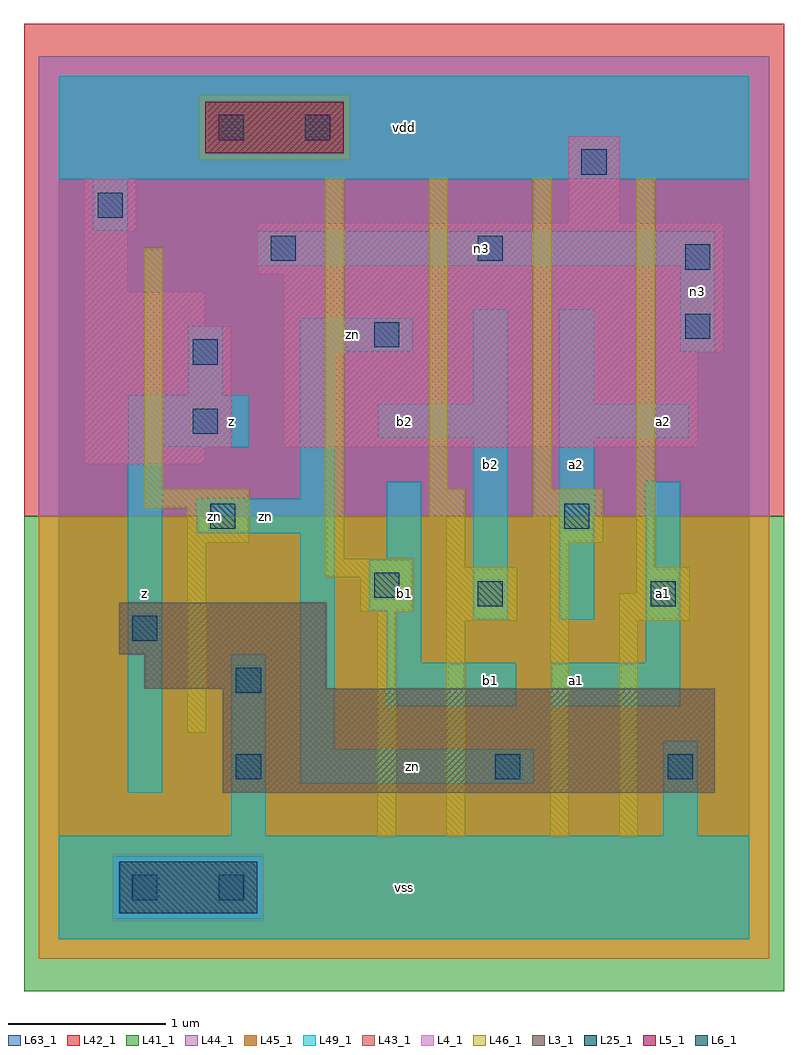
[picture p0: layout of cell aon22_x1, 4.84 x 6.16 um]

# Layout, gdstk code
import gdstk
lib = gdstk.Library(unit=1e-6, precision=1e-09)
def R(c, l, rs):  # rectangles x0, y0, x1, y1
    for r in rs: c.add(gdstk.rectangle(r[:2], r[2:], *l))
L3_1 = (3, 1)
L4_1 = (4, 1)
L5_1 = (5, 1)
L6_1 = (6, 1)
L25_1 = (25, 1)
L41_1 = (41, 1)
L42_1 = (42, 1)
L43_1 = (43, 1)
L44_1 = (44, 1)
L45_1 = (45, 1)
L46_1 = (46, 1)
L49_1 = (49, 1)
L63_1 = (63, 1)

aon22_x1 = lib.new_cell('aon22_x1')
R(aon22_x1, L3_1, [(1.045,0.935,4.18,1.595), (0.55,1.595,1.705,1.815), (0.385,1.815,1.705,2.145)])
R(aon22_x1, L4_1, [(0.165,3.025,0.935,3.135), (0.165,3.135,1.1,3.905), (1.43,3.135,4.07,3.74), (1.43,3.74,4.235,4.235), (0.165,3.905,0.935,4.125), (0.165,4.125,0.44,4.51), (1.265,4.235,4.235,4.565), (0.165,4.51,0.495,4.84), (3.245,4.565,3.575,5.115)])
R(aon22_x1, L5_1, [(0.935,5.005,1.815,5.335)])
R(aon22_x1, L6_1, [(0.385,0.165,1.265,0.495)])
R(aon22_x1, L25_1, [(0.47,0.25,0.63,0.41), (1.02,0.25,1.18,0.41), (1.13,1.02,1.29,1.18), (2.78,1.02,2.94,1.18), (3.88,1.02,4.04,1.18), (1.13,1.57,1.29,1.73), (0.47,1.9,0.63,2.06), (2.67,2.12,2.83,2.28), (3.77,2.12,3.93,2.28), (2.01,2.175,2.17,2.335), (0.965,2.615,1.125,2.775), (3.22,2.615,3.38,2.775), (0.855,3.22,1.015,3.38), (0.855,3.66,1.015,3.82), (2.01,3.77,2.17,3.93), (3.99,3.825,4.15,3.985), (3.99,4.265,4.15,4.425), (1.35,4.32,1.51,4.48), (2.67,4.32,2.83,4.48), (0.25,4.595,0.41,4.755), (3.33,4.87,3.49,5.03), (1.02,5.09,1.18,5.25), (1.57,5.09,1.73,5.25)])
R(aon22_x1, L41_1, [(-0.22,-0.33,4.62,2.695)])
R(aon22_x1, L42_1, [(-0.22,2.695,4.62,5.83)])
R(aon22_x1, L43_1, [(0.385,0.165,1.265,0.495), (1.045,0.935,4.18,1.595), (0.55,1.595,1.705,1.815), (0.385,1.815,1.705,2.145), (0.165,3.025,0.935,3.135), (0.165,3.135,1.1,3.905), (1.43,3.135,4.07,3.74), (1.43,3.74,4.235,4.235), (0.165,3.905,0.935,4.125), (0.165,4.125,0.44,4.51), (1.265,4.235,4.235,4.565), (0.165,4.51,0.495,4.84), (3.245,4.565,3.575,5.115), (0.935,5.005,1.815,5.335)])
R(aon22_x1, L44_1, [(0.345,0.125,1.305,0.535), (-0.125,2.695,4.525,4.965), (-0.125,4.965,0.895,5.375), (1.855,4.965,4.525,5.375), (-0.125,5.375,4.525,5.625)])
R(aon22_x1, L45_1, [(-0.125,-0.125,4.525,0.125), (-0.125,0.125,0.345,0.535), (1.305,0.125,4.525,0.535), (-0.125,0.535,4.525,2.695), (0.895,4.965,1.855,5.375)])
R(aon22_x1, L46_1, [(2.03,0.655,2.15,2.085), (2.47,0.655,2.59,2.03), (3.13,0.655,3.25,2.525), (3.57,0.655,3.69,2.03), (0.82,1.315,0.94,2.525), (2.47,2.03,2.92,2.37), (3.57,2.03,4.02,2.205), (1.92,2.085,2.26,2.305), (3.68,2.205,4.02,2.37), (1.7,2.305,2.26,2.425), (2.47,2.37,2.59,2.69), (3.68,2.37,3.8,4.845), (1.7,2.425,1.82,4.845), (0.82,2.525,1.215,2.745), (3.13,2.525,3.47,2.69), (2.36,2.69,2.59,2.865), (3.02,2.69,3.47,2.865), (0.545,2.745,1.215,2.865), (0.545,2.865,0.665,4.405), (2.36,2.865,2.48,4.845), (3.02,2.865,3.14,4.845)])
R(aon22_x1, L49_1, [(0,0,4.4,0.66), (1.1,0.66,1.32,1.815), (3.85,0.66,4.07,1.265), (0.44,0.935,0.66,3.135), (1.54,0.99,3.025,1.21), (1.54,1.21,1.76,2.585), (2.09,1.485,2.915,1.76), (3.135,1.485,3.96,1.76), (2.09,1.76,2.31,2.09), (3.74,1.76,3.96,2.915), (2.64,2.035,2.86,3.19), (3.19,2.035,3.41,3.19), (1.98,2.09,2.31,2.42), (2.09,2.42,2.31,2.915), (0.88,2.585,1.76,2.805), (1.54,2.805,1.76,3.74), (0.44,3.135,1.21,3.465), (2.035,3.19,2.86,3.41), (3.19,3.19,4.015,3.41), (2.64,3.41,2.86,4.015), (3.19,3.41,3.41,4.015), (0.825,3.465,1.045,3.905), (1.54,3.74,2.255,3.96), (3.96,3.74,4.18,4.29), (1.265,4.29,4.18,4.51), (0.22,4.51,0.44,4.84), (0,4.84,4.4,5.5)])
R(aon22_x1, L63_1, [(0,0,4.4,5.5)])
aon22_x1.add(gdstk.Label('zn', (0.99,2.695), layer=49, texttype=1))
aon22_x1.add(gdstk.Label('z', (0.55,2.2), layer=49, texttype=1))
aon22_x1.add(gdstk.Label('z', (0.55,2.2), layer=49, texttype=1))
aon22_x1.add(gdstk.Label('z', (1.1,3.3), layer=49, texttype=1))
aon22_x1.add(gdstk.Label('z', (1.1,3.3), layer=49, texttype=1))
aon22_x1.add(gdstk.Label('vss', (2.2,0.33), layer=49, texttype=1))
aon22_x1.add(gdstk.Label('vss', (2.2,0.33), layer=49, texttype=1))
aon22_x1.add(gdstk.Label('b1', (2.2,2.2), layer=49, texttype=1))
aon22_x1.add(gdstk.Label('b1', (2.2,2.2), layer=49, texttype=1))
aon22_x1.add(gdstk.Label('zn', (1.32,2.695), layer=49, texttype=1))
aon22_x1.add(gdstk.Label('b2', (2.2,3.3), layer=49, texttype=1))
aon22_x1.add(gdstk.Label('b2', (2.2,3.3), layer=49, texttype=1))
aon22_x1.add(gdstk.Label('zn', (1.87,3.85), layer=49, texttype=1))
aon22_x1.add(gdstk.Label('vdd', (2.2,5.17), layer=49, texttype=1))
aon22_x1.add(gdstk.Label('vdd', (2.2,5.17), layer=49, texttype=1))
aon22_x1.add(gdstk.Label('zn', (2.255,1.1), layer=49, texttype=1))
aon22_x1.add(gdstk.Label('b1', (2.75,1.65), layer=49, texttype=1))
aon22_x1.add(gdstk.Label('b1', (2.75,1.65), layer=49, texttype=1))
aon22_x1.add(gdstk.Label('a1', (3.3,1.65), layer=49, texttype=1))
aon22_x1.add(gdstk.Label('a1', (3.3,1.65), layer=49, texttype=1))
aon22_x1.add(gdstk.Label('b2', (2.75,3.025), layer=49, texttype=1))
aon22_x1.add(gdstk.Label('b2', (2.75,3.025), layer=49, texttype=1))
aon22_x1.add(gdstk.Label('a2', (3.3,3.025), layer=49, texttype=1))
aon22_x1.add(gdstk.Label('a2', (3.3,3.025), layer=49, texttype=1))
aon22_x1.add(gdstk.Label('a1', (3.85,2.2), layer=49, texttype=1))
aon22_x1.add(gdstk.Label('a1', (3.85,2.2), layer=49, texttype=1))
aon22_x1.add(gdstk.Label('a2', (3.85,3.3), layer=49, texttype=1))
aon22_x1.add(gdstk.Label('a2', (3.85,3.3), layer=49, texttype=1))
aon22_x1.add(gdstk.Label('n3', (4.07,4.125), layer=49, texttype=1))
aon22_x1.add(gdstk.Label('n3', (2.695,4.4), layer=49, texttype=1))

lib.write_gds('aon22_x1.gds')
